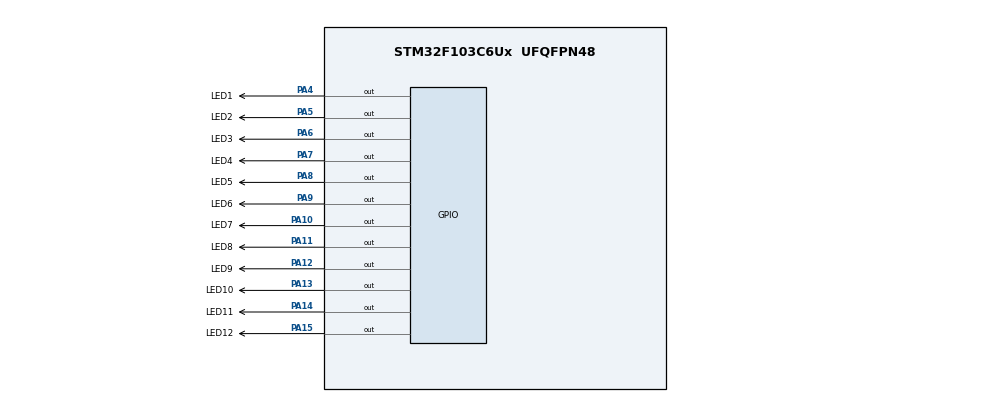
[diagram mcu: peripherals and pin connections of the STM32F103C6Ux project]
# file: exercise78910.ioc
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Mcu.Family=STM32F1
Mcu.Name=STM32F103C6Ux
Mcu.Package=UFQFPN48
NVIC.PriorityGroup=NVIC_PRIORITYGROUP_4
PA10.GPIO_Label=LED7
PA10.Signal=GPIO_Output
PA11.GPIO_Label=LED8
PA11.Signal=GPIO_Output
PA12.GPIO_Label=LED9
PA12.Signal=GPIO_Output
PA13.GPIO_Label=LED10
PA13.Signal=GPIO_Output
PA14.GPIO_Label=LED11
PA14.Signal=GPIO_Output
PA15.GPIO_Label=LED12
PA15.Signal=GPIO_Output
PA4.GPIO_Label=LED1
PA4.Signal=GPIO_Output
PA5.GPIO_Label=LED2
PA5.Signal=GPIO_Output
PA6.GPIO_Label=LED3
PA6.Signal=GPIO_Output
PA7.GPIO_Label=LED4
PA7.Signal=GPIO_Output
PA8.GPIO_Label=LED5
PA8.Signal=GPIO_Output
PA9.GPIO_Label=LED6
PA9.Signal=GPIO_Output
ProjectManager.HeapSize=0x200
ProjectManager.StackSize=0x400
ProjectManager.TargetToolchain=STM32CubeIDE
RCC.APB1Freq_Value=8000000
RCC.APB2Freq_Value=8000000
VP_SYS_VS_ND.Mode=No_Debug
board=custom

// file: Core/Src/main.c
/* USER CODE BEGIN Header */
/**
  ******************************************************************************
  * @file           : main.c
  * @brief          : Main program body
  ******************************************************************************
  * @attention
  *
  * <h2><center>&copy; Copyright (c) 2025 STMicroelectronics.
  * All rights reserved.</center></h2>
  *
  * This software component is licensed by ST under BSD 3-Clause license,
  * the "License"; You may not use this file except in compliance with the
  * License. You may obtain a copy of the License at:
  *                        opensource.org/licenses/BSD-3-Clause
  *
  ******************************************************************************
  */
/* USER CODE END Header */
#include "main.h"

void SystemClock_Config(void);
static void MX_GPIO_Init(void);
/* USER CODE BEGIN PFP */
void clearAllClock(){
	 	HAL_GPIO_WritePin(LED1_GPIO_Port, LED1_Pin, SET);
	    HAL_GPIO_WritePin(LED2_GPIO_Port, LED2_Pin, SET);
	    HAL_GPIO_WritePin(LED3_GPIO_Port, LED3_Pin, SET);
	    HAL_GPIO_WritePin(LED4_GPIO_Port, LED4_Pin, SET);
	    HAL_GPIO_WritePin(LED5_GPIO_Port, LED5_Pin, SET);
	    HAL_GPIO_WritePin(LED6_GPIO_Port, LED6_Pin, SET);
	    HAL_GPIO_WritePin(LED7_GPIO_Port, LED7_Pin, SET);
	    HAL_GPIO_WritePin(LED8_GPIO_Port, LED8_Pin, SET);
	    HAL_GPIO_WritePin(LED9_GPIO_Port, LED9_Pin, SET);
	    HAL_GPIO_WritePin(LED10_GPIO_Port, LED10_Pin, SET);
	    HAL_GPIO_WritePin(LED11_GPIO_Port, LED11_Pin, SET);
	    HAL_GPIO_WritePin(LED12_GPIO_Port, LED12_Pin, SET);
}
void clearNumberOnClock(int num){
    switch(num){
        case 0: HAL_GPIO_WritePin(LED1_GPIO_Port, LED1_Pin, GPIO_PIN_SET); break;
        case 1: HAL_GPIO_WritePin(LED2_GPIO_Port, LED2_Pin, GPIO_PIN_SET); break;
        case 2: HAL_GPIO_WritePin(LED3_GPIO_Port, LED3_Pin, GPIO_PIN_SET); break;
        case 3: HAL_GPIO_WritePin(LED4_GPIO_Port, LED4_Pin, GPIO_PIN_SET); break;
        case 4: HAL_GPIO_WritePin(LED5_GPIO_Port, LED5_Pin, GPIO_PIN_SET); break;
        case 5: HAL_GPIO_WritePin(LED6_GPIO_Port, LED6_Pin, GPIO_PIN_SET); break;
        case 6: HAL_GPIO_WritePin(LED7_GPIO_Port, LED7_Pin, GPIO_PIN_SET); break;
        case 7: HAL_GPIO_WritePin(LED8_GPIO_Port, LED8_Pin, GPIO_PIN_SET); break;
        case 8: HAL_GPIO_WritePin(LED9_GPIO_Port, LED9_Pin, GPIO_PIN_SET); break;
        case 9: HAL_GPIO_WritePin(LED10_GPIO_Port, LED10_Pin, GPIO_PIN_SET); break;
        case 10: HAL_GPIO_WritePin(LED11_GPIO_Port, LED11_Pin, GPIO_PIN_SET); break;
        case 11: HAL_GPIO_WritePin(LED12_GPIO_Port, LED12_Pin, GPIO_PIN_SET); break;
        default: break;
    }
}
void setNumberOnClock(int num){
	switch(num){
			case 0: HAL_GPIO_WritePin(LED1_GPIO_Port, LED12_Pin, GPIO_PIN_RESET); break;
	        case 1: HAL_GPIO_WritePin(LED2_GPIO_Port, LED1_Pin, GPIO_PIN_RESET); break;
	        case 2: HAL_GPIO_WritePin(LED3_GPIO_Port, LED2_Pin, GPIO_PIN_RESET); break;
	        case 3: HAL_GPIO_WritePin(LED4_GPIO_Port, LED3_Pin, GPIO_PIN_RESET); break;
	        case 4: HAL_GPIO_WritePin(LED5_GPIO_Port, LED4_Pin, GPIO_PIN_RESET); break;
	        case 5: HAL_GPIO_WritePin(LED6_GPIO_Port, LED5_Pin, GPIO_PIN_RESET); break;
	        case 6: HAL_GPIO_WritePin(LED7_GPIO_Port, LED6_Pin, GPIO_PIN_RESET); break;
	        case 7: HAL_GPIO_WritePin(LED8_GPIO_Port, LED7_Pin, GPIO_PIN_RESET); break;
	        case 8: HAL_GPIO_WritePin(LED9_GPIO_Port, LED8_Pin, GPIO_PIN_RESET); break;
	        case 9: HAL_GPIO_WritePin(LED10_GPIO_Port, LED9_Pin, GPIO_PIN_RESET); break;
	        case 10: HAL_GPIO_WritePin(LED11_GPIO_Port, LED10_Pin, GPIO_PIN_RESET); break;
	        case 11: HAL_GPIO_WritePin(LED12_GPIO_Port, LED11_Pin, GPIO_PIN_RESET); break;
	        default: break;
	}
}
void displayClock(int hour, int minute, int second){
	clearAllClock();

	int h= hour%12;
	int m= minute/5;
	int s= second/5;

	setNumberOnClock(h);
	setNumberOnClock(m);
	setNumberOnClock(s);
}
/* USER CODE END PFP */

int main(void)
{

  /* MCU Configuration--------------------------------------------------------*/

  /* Reset of all peripherals, Initializes the Flash interface and the Systick. */
  HAL_Init();

  /* Configure the system clock */
  SystemClock_Config();

  /* Initialize all configured peripherals */
  MX_GPIO_Init();

  /* Infinite loop */
  /* USER CODE BEGIN WHILE */
  int hour = 2;
  int minute = 54;
  int second = 30;

  while (1)
  {
    /* USER CODE END WHILE */
	  displayClock(hour, minute, second);
	     HAL_Delay(100);
	     second++;
	     if(second >= 60){
	         second = 0;
	         minute++;
			 if(minute >= 60){
				 minute = 0;
				 hour++;
				 if(hour >= 24){
					 hour = 0;
				 }
			 }
	     }
  }
}

void SystemClock_Config(void)
{
  RCC_OscInitTypeDef RCC_OscInitStruct = {0};
  RCC_ClkInitTypeDef RCC_ClkInitStruct = {0};

  /** Initializes the RCC Oscillators according to the specified parameters
  * in the RCC_OscInitTypeDef structure.
  */
  RCC_OscInitStruct.OscillatorType = RCC_OSCILLATORTYPE_HSI;
  RCC_OscInitStruct.HSIState = RCC_HSI_ON;
  RCC_OscInitStruct.HSICalibrationValue = RCC_HSICALIBRATION_DEFAULT;
  RCC_OscInitStruct.PLL.PLLState = RCC_PLL_NONE;
  if (HAL_RCC_OscConfig(&RCC_OscInitStruct) != HAL_OK)
  {
    Error_Handler();
  }
  /** Initializes the CPU, AHB and APB buses clocks
  */
  RCC_ClkInitStruct.ClockType = RCC_CLOCKTYPE_HCLK|RCC_CLOCKTYPE_SYSCLK
                              |RCC_CLOCKTYPE_PCLK1|RCC_CLOCKTYPE_PCLK2;
  RCC_ClkInitStruct.SYSCLKSource = RCC_SYSCLKSOURCE_HSI;
  RCC_ClkInitStruct.AHBCLKDivider = RCC_SYSCLK_DIV1;
  RCC_ClkInitStruct.APB1CLKDivider = RCC_HCLK_DIV1;
  RCC_ClkInitStruct.APB2CLKDivider = RCC_HCLK_DIV1;

  if (HAL_RCC_ClockConfig(&RCC_ClkInitStruct, FLASH_LATENCY_0) != HAL_OK)
  {
    Error_Handler();
  }
}

static void MX_GPIO_Init(void)
{
  GPIO_InitTypeDef GPIO_InitStruct = {0};

  /* GPIO Ports Clock Enable */
  __HAL_RCC_GPIOA_CLK_ENABLE();

  /*Configure GPIO pin Output Level */
  HAL_GPIO_WritePin(GPIOA, LED1_Pin|LED2_Pin|LED3_Pin|LED4_Pin
                          |LED5_Pin|LED6_Pin|LED7_Pin|LED8_Pin
                          |LED9_Pin|LED10_Pin|LED11_Pin|LED12_Pin, GPIO_PIN_RESET);

  /*Configure GPIO pins : LED1_Pin LED2_Pin LED3_Pin LED4_Pin
                           LED5_Pin LED6_Pin LED7_Pin LED8_Pin
                           LED9_Pin LED10_Pin LED11_Pin LED12_Pin */
  GPIO_InitStruct.Pin = LED1_Pin|LED2_Pin|LED3_Pin|LED4_Pin
                          |LED5_Pin|LED6_Pin|LED7_Pin|LED8_Pin
                          |LED9_Pin|LED10_Pin|LED11_Pin|LED12_Pin;
  GPIO_InitStruct.Mode = GPIO_MODE_OUTPUT_PP;
  GPIO_InitStruct.Pull = GPIO_NOPULL;
  GPIO_InitStruct.Speed = GPIO_SPEED_FREQ_LOW;
  HAL_GPIO_Init(GPIOA, &GPIO_InitStruct);

}

void Error_Handler(void)
{
  __disable_irq();
  while (1)
  {
  }
}

/************************ (C) COPYRIGHT STMicroelectronics *****END OF FILE****/
